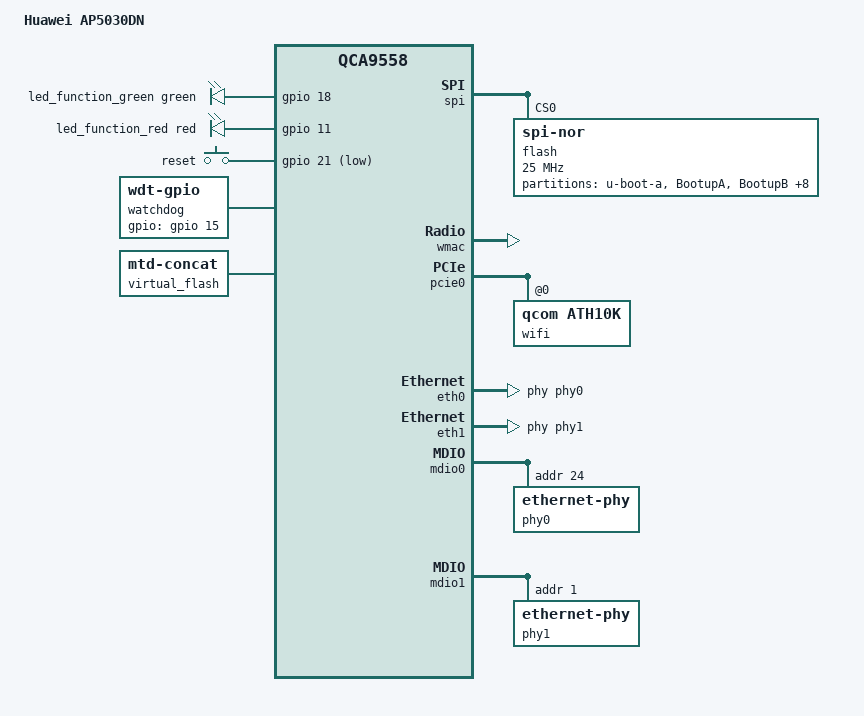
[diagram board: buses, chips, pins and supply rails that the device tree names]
// SPDX-License-Identifier: GPL-2.0-or-later OR MIT

#include "qca955x.dtsi"

#include <dt-bindings/gpio/gpio.h>
#include <dt-bindings/input/input.h>
#include <dt-bindings/leds/common.h>

/ {
	model = "Huawei AP5030DN";
	compatible = "huawei,ap5030dn", "qca,qca9550", "qca,qca9558";

	chosen {
		bootargs = "console=ttyS0,9600n8";
	};

	aliases {
		led-boot = &led_function_red;
		led-failsafe = &led_function_red;
		led-running = &led_function_green;
		led-upgrade = &led_function_red;
	};

	leds {
		compatible = "gpio-leds";

		led_function_green: led-status-red {
			function = LED_FUNCTION_STATUS;
			color = <LED_COLOR_ID_GREEN>;
			gpios = <&gpio 18 GPIO_ACTIVE_HIGH>;
		};

		led_function_red: led-status-green {
			function = LED_FUNCTION_STATUS;
			color = <LED_COLOR_ID_RED>;
			gpios = <&gpio 11 GPIO_ACTIVE_HIGH>;
		};

	};

	keys {
		compatible = "gpio-keys";

		restart {
			label = "reset";
			linux,code = <KEY_RESTART>;
			gpios = <&gpio 21 GPIO_ACTIVE_LOW>;
			debounce-interval = <60>;
		};
	};

	watchdog {
		pinctrl-names = "default";
		pinctrl-0 = <&wdt_gpio15>;

		compatible = "linux,wdt-gpio";
		gpios = <&gpio 15 GPIO_ACTIVE_HIGH>;
		hw_algo = "toggle";
		hw_margin_ms = <100>;
		always-running;
	};

	virtual_flash {
		compatible = "mtd-concat";
		devices = <&fwconcat0 &fwconcat1>;

		partitions {
			compatible = "fixed-partitions";
			#address-cells = <1>;
			#size-cells = <1>;

			partition@0 {
				label = "firmware";
				reg = <0x0 0x1e00000>;
				compatible = "openwrt,uimage", "denx,uimage";
			};
		};
	};
};

&spi {
	status = "okay";

	flash@0 {
		compatible = "jedec,spi-nor";
		reg = <0>;
		spi-max-frequency = <25000000>;

		partitions {
			compatible = "fixed-partitions";
			#address-cells = <1>;
			#size-cells = <1>;

			partition@0 {
				label = "u-boot-a";
				reg = <0x0 0x80000>;
				read-only;
			};

			// The BootupA/B partitions store the addresses
			// of the main and backup kernel in flash (which is the same here).
			// During sysupgrade, these addresses are set to the start of the
			// "firmware" partition.
			partition@80000 {
				label = "BootupA";
				reg = <0x80000 0x20000>;
			};

			partition@a0000 {
				label = "BootupB";
				reg = <0xa0000 0x20000>;
			};

			partition@c0000 {
				label = "u-boot-env";
				reg = <0xc0000 0x20000>;
				read-only;
			};

			partition@e0000 {
				label = "BoardData";
				reg = <0xe0000 0x20000>;
				read-only;
			};

			// In the vendor layout, there are the "SysImageA" (12 MiB)
			// and the "ConfigA" (3 MiB) partitions here.
			fwconcat0: partition@100000 {
				label = "fwconcat0";
				reg = <0x100000 0xF00000>;
			};

			partition@1000000 {
				label = "u-boot-b";
				reg = <0x1000000 0x80000>;
				read-only;
			};

			partition@1080000 {
				label = "ResultA";
				reg = <0x1080000 0x20000>;
				read-only;
			};

			partition@10a0000 {
				label = "ResultB";
				reg = <0x10a0000 0x20000>;
				read-only;
			};

			// In the vendor layout, there are the "SysImageB" (12 MiB)
			// and the "ConfigB" (3 MiB) partitions here.
			fwconcat1: partition@10c0000 {
				label = "fwconcat1";
				reg = <0x10c0000 0xF00000>;
			};

			art: partition@1fc0000 {
				label = "art";
				reg = <0x1fc0000 0x40000>;
				read-only;

				nvmem-layout {
					compatible = "fixed-layout";
					#address-cells = <1>;
					#size-cells = <1>;

					macaddr_art_2005b: macaddr@2005b {
						compatible = "mac-base";
						reg = <0x2005b 0x6>;
						#nvmem-cell-cells = <1>;
					};

					cal_art_1000: cal@1000 {
						reg = <0x1000 0x440>;
					};

					cal_art_5000: cal@5000 {
						reg = <0x5000 0x844>;
					};
				};
			};
		};
	};
};

&wmac {
	status = "okay";

	nvmem-cells = <&macaddr_art_2005b 3>, <&cal_art_1000>;
	nvmem-cell-names = "mac-address", "calibration";
};

&pcie0 {
	status = "okay";

	wifi@0,0 {
		compatible = "qcom,ath10k";
		reg = <0x0000 0 0 0 0>;
		nvmem-cells = <&macaddr_art_2005b 2>, <&cal_art_5000>;
		nvmem-cell-names = "mac-address", "calibration";
	};
};

&eth0 {
	status = "okay";

	nvmem-cells = <&macaddr_art_2005b 0>;
	nvmem-cell-names = "mac-address";

	pll-data = <0xa6000000 0xa0000101 0xa0001313>;
	phy-handle = <&phy0>;

	gmac-config {
		device = <&gmac>;
		rxdv-delay = <3>;
		rxd-delay = <3>;
		txen-delay = <0>;
		txd-delay = <0>;
	};
};

&eth1 {
	status = "okay";

	nvmem-cells = <&macaddr_art_2005b 1>;
	nvmem-cell-names = "mac-address";

	pll-data = <0x03000101 0x00000101 0x00001313>;
	phy-handle = <&phy1>;
};

&mdio0 {
	status = "okay";

	phy0: ethernet-phy@18 {
		reg = <0x18>;
	};
};

&mdio1 {
	status = "okay";

	phy1: ethernet-phy@1 {
		reg = <1>;
	};
};

&pinmux {
	wdt_gpio15: pinmux_wdt_gpio15 {
		pinctrl-single,bits = <0xc 0x0 0xFF000000>;
	};
};

&wdt {
	status = "disabled";
};
